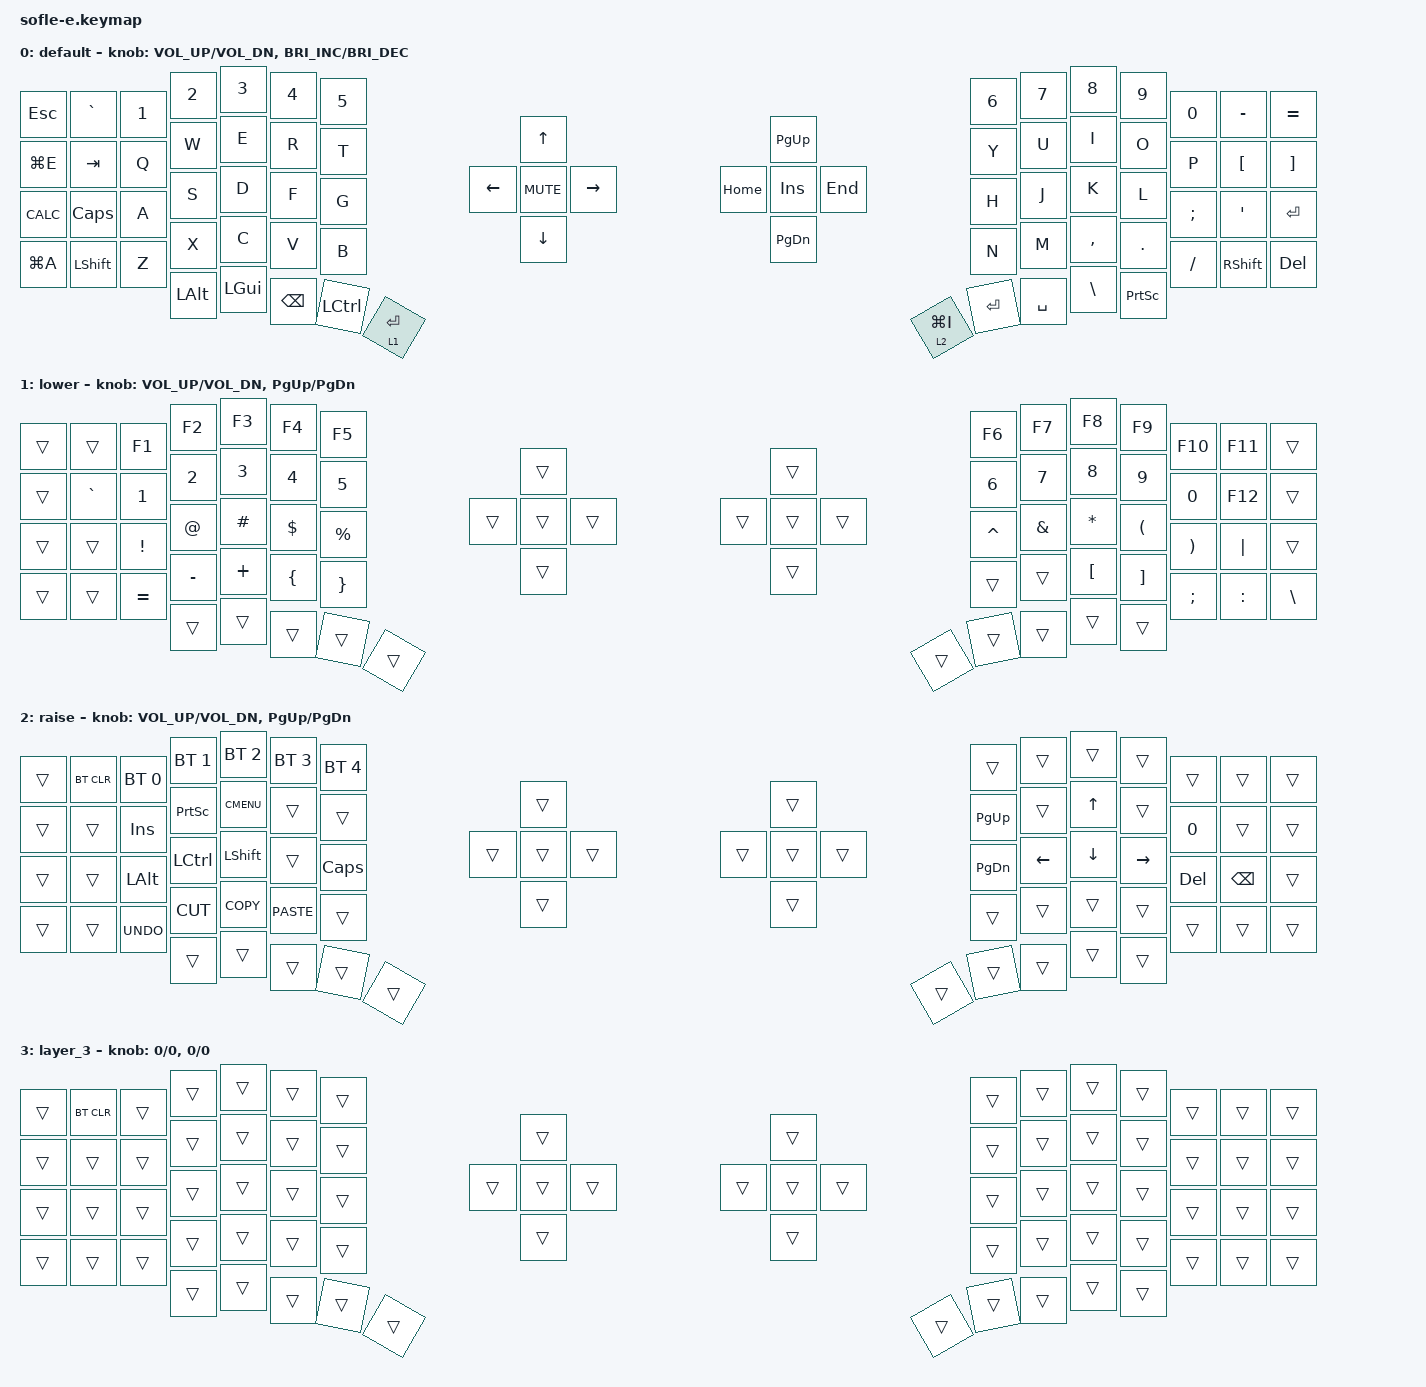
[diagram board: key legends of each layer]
/*
 * Copyright (c) 2020 The ZMK Contributors
 *
 * SPDX-License-Identifier: MIT
 */

#ifndef ZMK_BEHAVIORS_KEEP_ALL
#define ZMK_BEHAVIORS_KEEP_ALL
#endif
#include <behaviors.dtsi>
#include <dt-bindings/zmk/bt.h>
#include <dt-bindings/zmk/keys.h>

#define BASE 0
#define LOWER 1
#define RAISE 2
#define ADJUST 3

/ {
    // Activate ADJUST layer by pressing raise and lower

    conditional_layers {
        compatible = "zmk,conditional-layers";

        adjust_layer {
            if-layers = <1 2>;
            then-layer = <3>;
        };
    };

    combos {
        compatible = "zmk,combos";

        test {
            bindings = <&mo 3>;
            key-positions = <36 37>;
        };
    };

    keymap {
        compatible = "zmk,keymap";

        default_layer {
            display-name = "default";
            bindings = <
&kp ESC     &kp GRAVE  &kp N1    &kp N2    &kp N3     &kp N4     &kp N5          &kp N6   &kp N7       &kp N8     &kp N9     &kp N0    &kp MINUS  &kp EQUAL
&kp LG(E)   &kp TAB    &kp Q     &kp W     &kp E      &kp R      &kp T           &kp Y    &kp U        &kp I      &kp O      &kp P     &kp LBKT   &kp RBKT
&kp K_CALC  &kp CAPS   &kp A     &kp S     &kp D      &kp F      &kp G           &kp H    &kp J        &kp K      &kp L      &kp SEMI  &kp SQT    &kp RET
&kp LG(A)   &kp LSHFT  &kp Z     &kp X     &kp C      &kp V      &kp B           &kp N    &kp M        &kp COMMA  &kp DOT    &kp FSLH  &kp RSHFT  &kp DEL
            &kp LALT   &kp LGUI  &kp BSPC  &kp LCTRL  &lt 1 RET                           &lt 2 LG(I)  &kp RET    &kp SPACE  &kp BSLH  &kp PSCRN
                       &kp UP    &kp LEFT  &kp DOWN   &kp RIGHT  &kp K_MUTE      &kp INS               &kp END    &kp PG_DN  &kp HOME  &kp PG_UP
            >;

            sensor-bindings =
                <&inc_dec_kp C_VOL_UP C_VOL_DN>,
                <&inc_dec_kp C_BRI_INC C_BRI_DEC>;
        };

        lower_layer {
            display-name = "lower";
            bindings = <
&trans  &trans     &kp F1     &kp F2     &kp F3    &kp F4    &kp F5         &kp F6     &kp F7    &kp F8     &kp F9    &kp F10   &kp F11    &trans
&trans  &kp GRAVE  &kp N1     &kp N2     &kp N3    &kp N4    &kp N5         &kp N6     &kp N7    &kp N8     &kp N9    &kp N0    &kp F12    &trans
&trans  &trans     &kp EXCL   &kp AT     &kp HASH  &kp DLLR  &kp PRCNT      &kp CARET  &kp AMPS  &kp ASTRK  &kp LPAR  &kp RPAR  &kp PIPE   &trans
&trans  &trans     &kp EQUAL  &kp MINUS  &kp PLUS  &kp LBRC  &kp RBRC       &trans     &trans    &kp LBKT   &kp RBKT  &kp SEMI  &kp COLON  &kp BSLH
        &trans     &trans     &trans     &trans    &trans                              &trans    &trans     &trans    &trans    &trans
                   &trans     &trans     &trans    &trans    &trans         &trans               &trans     &trans    &trans    &trans
            >;

            sensor-bindings = <&inc_dec_kp C_VOL_UP C_VOL_DN &inc_dec_kp PG_UP PG_DN>;
        };

        raise_layer {
            display-name = "raise";
            bindings = <
&trans  &bt BT_CLR  &bt BT_SEL 0  &bt BT_SEL 1  &bt BT_SEL 2  &bt BT_SEL 3  &bt BT_SEL 4      &trans     &trans    &trans    &trans     &trans   &trans    &trans
&trans  &trans      &kp INS       &kp PSCRN     &kp K_CMENU   &trans        &trans            &kp PG_UP  &trans    &kp UP    &trans     &kp N0   &trans    &trans
&trans  &trans      &kp LALT      &kp LCTRL     &kp LSHFT     &trans        &kp CLCK          &kp PG_DN  &kp LEFT  &kp DOWN  &kp RIGHT  &kp DEL  &kp BSPC  &trans
&trans  &trans      &kp K_UNDO    &kp K_CUT     &kp K_COPY    &kp K_PASTE   &trans            &trans     &trans    &trans    &trans     &trans   &trans    &trans
        &trans      &trans        &trans        &trans        &trans                                     &trans    &trans    &trans     &trans   &trans
                    &trans        &trans        &trans        &trans        &trans            &trans               &trans    &trans     &trans   &trans
            >;

            sensor-bindings = <&inc_dec_kp C_VOL_UP C_VOL_DN &inc_dec_kp PG_UP PG_DN>;
        };

        layer_3 {
            bindings = <
&trans  &bt BT_CLR  &trans  &trans  &trans  &trans  &trans      &trans  &trans  &trans  &trans  &trans  &trans  &trans
&trans  &trans      &trans  &trans  &trans  &trans  &trans      &trans  &trans  &trans  &trans  &trans  &trans  &trans
&trans  &trans      &trans  &trans  &trans  &trans  &trans      &trans  &trans  &trans  &trans  &trans  &trans  &trans
&trans  &trans      &trans  &trans  &trans  &trans  &trans      &trans  &trans  &trans  &trans  &trans  &trans  &trans
        &trans      &trans  &trans  &trans  &trans                      &trans  &trans  &trans  &trans  &trans
                    &trans  &trans  &trans  &trans  &trans      &trans          &trans  &trans  &trans  &trans
            >;

            sensor-bindings = <&inc_dec_kp 0 0>, <&inc_dec_kp 0 0>;
        };
    };
};
